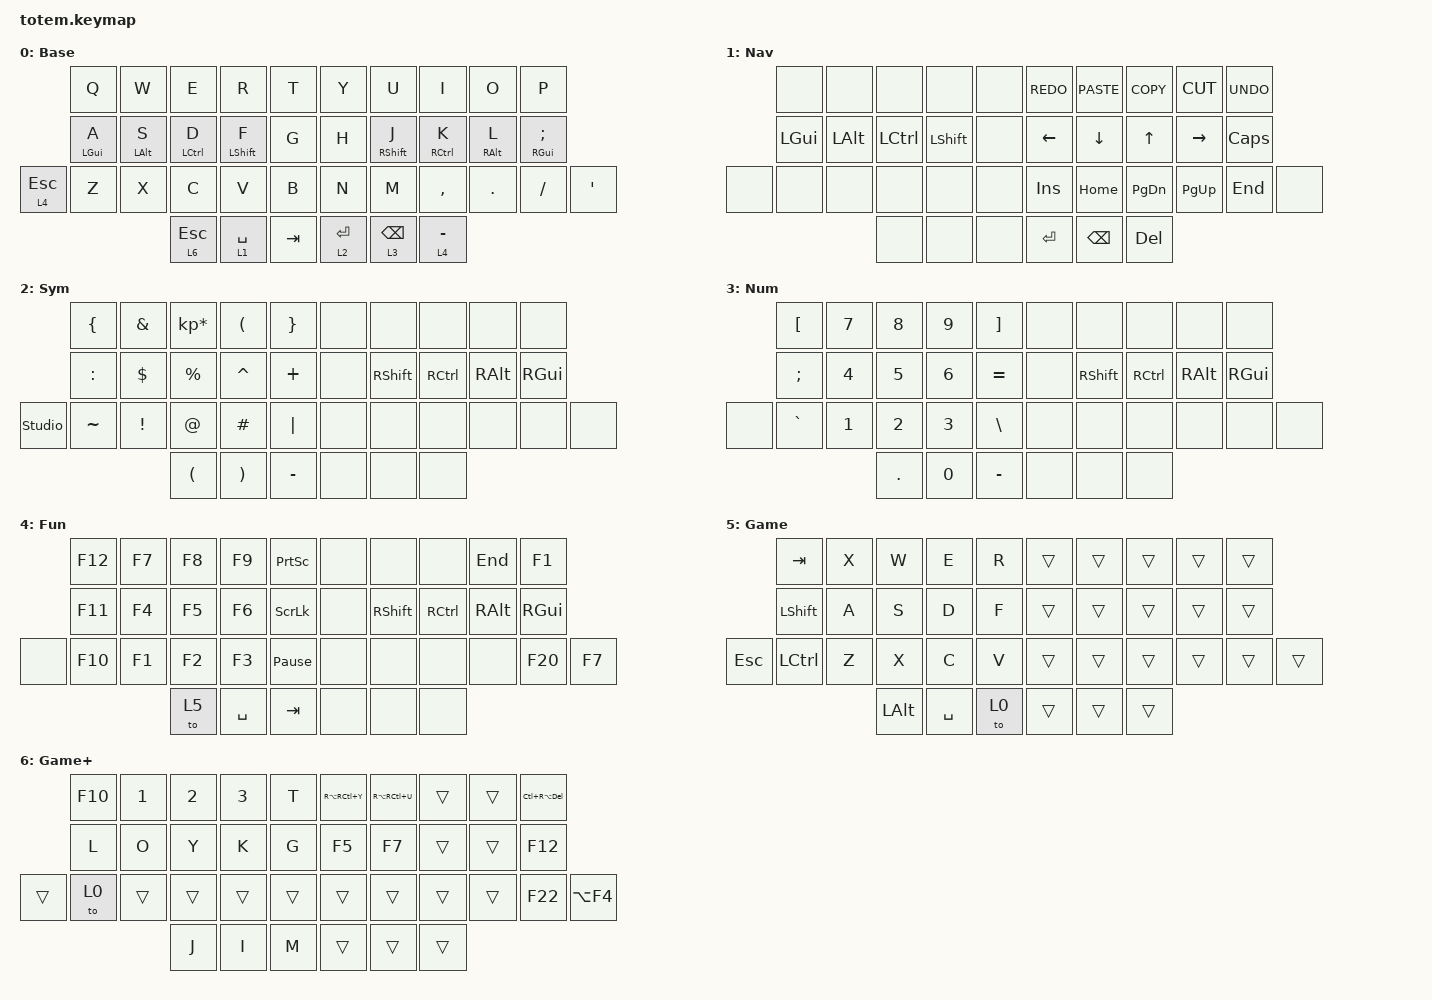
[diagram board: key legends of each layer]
//
//                                                        ▀▀▀▀▀     ▀▀▀▀▀          ▀▀█▀▀
//                                                        ▄▀▀▀▄  ▄  ▄▀▀▀▄  ▄  ▄▀▀▀▄  █  ▄▀▀▀▄
//                                                        █   █  █  █   █  █  █   █  █  █   █
//                                                         ▀▀▀   █   ▀▀▀   █   ▀▀▀   ▀   ▀▀▀
//                                                               █      ▄▄▄█▄▄▄    █   █  
//                                                               ▀      █  █  █     █▄█
//                                                             ▀▀▀▀▀    █  █  █      ▀
//                                                                      ▀  ▀  ▀
//
// ▄▄▄▄▄▄▄▄▄▄▄▄▄▄▄▄▄▄▄▄▄▄▄▄▄▄▄▄▄▄▄▄▄▄▄▄▄▄▄▄▄▄▄▄▄▄▄▄▄▄▄▄▄▄▄▄▄▄▄▄▄▄▄▄▄▄▄▄▄▄▄▄▄▄▄▄▄▄▄▄▄▄▄▄▄▄▄▄▄▄▄▄▄▄▄▄▄▄▄▄▄▄▄▄▄▄▄▄▄▄▄▄▄▄▄▄▄▄▄▄▄▄▄▄▄▄▄▄▄▄▄▄▄▄▄▄▄▄▄▄▄▄▄▄▄▄▄▄▄

#include <behaviors.dtsi>
#include <dt-bindings/zmk/keys.h>

#define Base        0
#define Nav         1
#define Sym         2
#define Fun         3
#define Game        4
#define Gameplus    5


&mt {
    quick-tap-ms = <100>;
    global-quick-tap;
    flavor = "tap-preferred";
    tapping-term-ms = <170>;
};

&lt {
    tapping-term-ms = <240>;
    flavor = "balanced";
    quick-tap-ms = <150>;
};

/ {
    behaviors {
        hm: homerow_mods {
            compatible = "zmk,behavior-hold-tap";
            label = "HOMEROW_MODS";
            #binding-cells = <2>;
            flavor = "tap-preferred";
            tapping-term-ms = <200>;
            quick-tap-ms = <125>;
            global-quick-tap;
            bindings = <&kp>, <&kp>;
        };
    };

    combos { compatible = "zmk,combos"; };

    keymap {
        compatible = "zmk,keymap";

        Base {
            display-name = "Base";
            bindings = <
              &kp Q       &kp W       &kp E         &kp R         &kp T      &kp Y        &kp U        &kp I        &kp O       &kp P
              &hm LGUI A  &hm LALT S  &hm LCTRL D   &hm LSHIFT F  &kp G      &kp H        &hm RSHFT J  &hm RCTRL K  &hm RALT L  &hm RGUI SEMICOLON
&lt 4 ESCAPE  &kp Z       &kp X       &kp C         &kp V         &kp B      &kp N        &kp M        &kp COMMA    &kp DOT     &kp SLASH           &kp APOSTROPHE
                                      &lt 6 ESCAPE  &lt 1 SPACE   &kp TAB    &lt 2 ENTER  &lt 3 BSPC   &lt 4 MINUS
            >;
        };

        Nav {
            display-name = "Nav";
            bindings = <
       &none     &none         &none      &none           &none    &kp K_REDO  &kp K_PASTE    &kp K_COPY     &kp K_CUT    &kp K_UNDO
       &kp LGUI  &kp LEFT_ALT  &kp LCTRL  &kp LEFT_SHIFT  &none    &kp LEFT    &kp DOWN       &kp UP_ARROW   &kp RIGHT    &kp CAPS
&none  &none     &none         &none      &none           &none    &kp INS     &kp HOME       &kp PAGE_DOWN  &kp PAGE_UP  &kp END     &none
                               &none      &none           &none    &kp ENTER   &kp BACKSPACE  &kp DELETE
            >;
        };

        Sym {
            display-name = "Sym";
            bindings = <
                &kp LEFT_BRACE  &kp AMPS    &kp KP_MULTIPLY       &kp LEFT_PARENTHESIS   &kp RIGHT_BRACE    &none  &none      &none      &none     &none
                &kp COLON       &kp DOLLAR  &kp PERCENT           &kp CARET              &kp PLUS           &none  &kp RSHFT  &kp RCTRL  &kp RALT  &kp RGUI
&studio_unlock  &kp TILDE       &kp EXCL    &kp AT                &kp POUND              &kp PIPE           &none  &none      &none      &none     &none     &none
                                            &kp LEFT_PARENTHESIS  &kp RIGHT_PARENTHESIS  &kp MINUS          &none  &none      &none
            >;
        };

        Num {
            bindings = <
       &kp LEFT_BRACKET  &kp NUMBER_7  &kp N8        &kp N9        &kp RIGHT_BRACKET    &none  &none            &none      &none     &none
       &kp SEMI          &kp NUMBER_4  &kp N5        &kp NUMBER_6  &kp EQUAL            &none  &kp RIGHT_SHIFT  &kp RCTRL  &kp RALT  &kp RGUI
&none  &kp GRAVE         &kp NUMBER_1  &kp NUMBER_2  &kp NUMBER_3  &kp BACKSLASH        &none  &none            &none      &none     &none     &none
                                       &kp PERIOD    &kp NUMBER_0  &kp MINUS            &none  &none            &none
            >;
        };

        Fun {
            display-name = "Fun";
            bindings = <
       &kp F12  &kp F7  &kp F8  &kp F9     &kp PRINTSCREEN    &none  &none      &none      &kp END   &kp F1
       &kp F11  &kp F4  &kp F5  &kp F6     &kp SCROLLLOCK     &none  &kp RSHFT  &kp RCTRL  &kp RALT  &kp RGUI
&none  &kp F10  &kp F1  &kp F2  &kp F3     &kp PAUSE_BREAK    &none  &none      &none      &none     &kp F20   &kp F7
                        &to 5   &kp SPACE  &kp TAB            &none  &none      &none
            >;
        };

        Gaming {
            display-name = "Game";
            bindings = <
            &kp TAB         &kp X  &kp W         &kp E      &kp R    &trans  &trans  &trans  &trans  &trans
            &kp LEFT_SHIFT  &kp A  &kp S         &kp D      &kp F    &trans  &trans  &trans  &trans  &trans
&kp ESCAPE  &kp LCTRL       &kp Z  &kp X         &kp C      &kp V    &trans  &trans  &trans  &trans  &trans  &trans
                                   &kp LEFT_ALT  &kp SPACE  &to 0    &trans  &trans  &trans
            >;
        };

        Gaming+ {
            display-name = "Game+";
            bindings = <
        &kp F10  &kp NUMBER_1  &kp NUMBER_2  &kp NUMBER_3  &kp T     &kp RA(RC(Y))  &kp RA(RC(U))  &trans  &trans  &kp LC(RA(DEL))
        &kp L    &kp O         &kp Y         &kp K         &kp G     &kp F5         &kp F7         &trans  &trans  &kp F12
&trans  &to 0    &trans        &trans        &trans        &trans    &trans         &trans         &trans  &trans  &kp F22          &kp LA(F4)
                               &kp J         &kp I         &kp M     &trans         &trans         &trans
            >;
        };
    };
};
